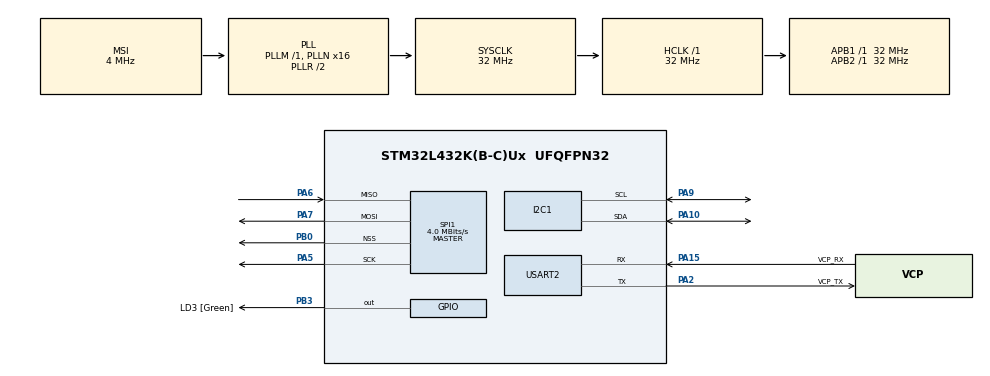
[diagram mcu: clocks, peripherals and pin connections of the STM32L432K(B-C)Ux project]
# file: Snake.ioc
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I2C1.Timing=0x00707CBB
Mcu.Family=STM32L4
Mcu.Name=STM32L432K(B-C)Ux
Mcu.Package=UFQFPN32
NVIC.PriorityGroup=NVIC_PRIORITYGROUP_4
PA0.GPIO_Label=MCO [High speed clock in]
PA0.Mode=HSE-External-Clock-Source-for-LittleOrca
PA0.Signal=RCC_CK_IN
PA10.GPIO_Pu=GPIO_PULLUP
PA10.Mode=I2C
PA10.Signal=I2C1_SDA
PA13\ (JTMS-SWDIO).GPIO_Label=SWDIO
PA13\ (JTMS-SWDIO).Mode=Serial_Wire
PA13\ (JTMS-SWDIO).Signal=SYS_JTMS-SWDIO
PA14\ (JTCK-SWCLK).GPIO_Label=SWCLK
PA14\ (JTCK-SWCLK).Mode=Serial_Wire
PA14\ (JTCK-SWCLK).Signal=SYS_JTCK-SWCLK
PA15\ (JTDI).GPIO_Label=VCP_RX
PA15\ (JTDI).Mode=Asynchronous
PA15\ (JTDI).Signal=USART2_RX
PA2.GPIO_Label=VCP_TX
PA2.Mode=Asynchronous
PA2.Signal=USART2_TX
PA5.Mode=Full_Duplex_Master
PA5.Signal=SPI1_SCK
PA6.Mode=Full_Duplex_Master
PA6.Signal=SPI1_MISO
PA7.Mode=Full_Duplex_Master
PA7.Signal=SPI1_MOSI
PA9.GPIO_Pu=GPIO_PULLUP
PA9.Mode=I2C
PA9.Signal=I2C1_SCL
PB0.Mode=NSS_Signal_Hard_Output
PB0.Signal=SPI1_NSS
PB3\ (JTDO-TRACESWO).GPIO_Label=LD3 [Green]
PB3\ (JTDO-TRACESWO).Signal=GPIO_Output
PC14-OSC32_IN\ (PC14).Mode=LSE-External-Oscillator
PC14-OSC32_IN\ (PC14).Signal=RCC_OSC32_IN
PC15-OSC32_OUT\ (PC15).Mode=LSE-External-Oscillator
PC15-OSC32_OUT\ (PC15).Signal=RCC_OSC32_OUT
ProjectManager.HeapSize=0x200
ProjectManager.StackSize=0x400
ProjectManager.TargetToolchain=STM32CubeIDE
RCC.AHBFreq_Value=32000000
RCC.APB1Freq_Value=32000000
RCC.APB1TimFreq_Value=32000000
RCC.APB2Freq_Value=32000000
RCC.APB2TimFreq_Value=32000000
RCC.CortexFreq_Value=32000000
RCC.HCLKFreq_Value=32000000
RCC.HSE_VALUE=8000000
RCC.HSI16_VALUE=16000000
RCC.HSI48_VALUE=48000000
RCC.HSI_VALUE=16000000
RCC.MSI_VALUE=4000000
RCC.PLLMUL=RCC_PLLMUL_4
RCC.PLLN=16
RCC.SYSCLKFreq_VALUE=32000000
RCC.SYSCLKSource=RCC_SYSCLKSOURCE_PLLCLK
RCC.VCOOutputFreq_Value=64000000
SPI1.BaudRatePrescaler=SPI_BAUDRATEPRESCALER_8
SPI1.CalculateBaudRate=4.0 MBits/s
SPI1.DataSize=SPI_DATASIZE_8BIT
SPI1.Direction=SPI_DIRECTION_2LINES
SPI1.Mode=SPI_MODE_MASTER
SPI1.VirtualNSS=VM_NSSHARD
SPI1.VirtualType=VM_MASTER
USART2.VirtualMode-Asynchronous=VM_ASYNC
board=NUCLEO-L432KC

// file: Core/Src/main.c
/* USER CODE BEGIN Header */
/**
  ******************************************************************************
  * @file           : main.c
  * @brief          : Main program body
  * @author         : 177013
  * @date		    : 19-01-2025
  ******************************************************************************
  * @attention
  * This program is designed to run on an STM32 microcontroller and makes use of
  * peripherals such as SPI, I2C, UART & GPIO to interact with external components.
  *
  * Copyright (c) 2025 STMicroelectronics.
  * All rights reserved.
  *
  * This software is licensed under terms that can be found in the LICENSE file
  * in the root directory of this software component.
  * If no LICENSE file comes with this software, it is provided AS-IS.
  *
  ******************************************************************************
  */
/* USER CODE END Header */
#include "main.h"
#include "i2c.h"
#include "spi.h"
#include "usart.h"
#include "gpio.h"

/* USER CODE BEGIN Includes */
#include "MAX7129.h"
#include "PCA9538A_I²C.h"
#include "snakelogic.h"
/* USER CODE END Includes */

/* USER CODE BEGIN PV */
int selectedMenuIndex = 0;

/* USER CODE END PV */

void SystemClock_Config(void);
/* USER CODE BEGIN PFP */

//static void MX_USART2_UART_Init(void);
//static void MX_I2C1_Init(void);
/* USER CODE END PFP */

int main(void)
{

  /* MCU Configuration--------------------------------------------------------*/

  /* Reset of all peripherals, Initializes the Flash interface and the Systick. */
  HAL_Init();

  /* Configure the system clock */
  SystemClock_Config();

  /* Initialize all configured peripherals */
  MX_GPIO_Init();
  MX_USART2_UART_Init();
  MX_I2C1_Init();
  MX_SPI1_Init();
  /* USER CODE BEGIN 2 */
  uint32_t lastInputTime = HAL_GetTick();  // Store the current time to track the last input time
  /* USER CODE END 2 */

  /* Infinite loop */
  /* USER CODE BEGIN WHILE */
  while (1)
  {
      JoystickState joystick = readJoystick();  // Read the joystick input

      // Check if the joystick or button was moved or pressed
      if (joystick.x || joystick.y || joystick.button) {
          lastInputTime = HAL_GetTick();  // Update the last input time when a joystick movement or button press occurs

          // Switch between menu items based on joystick's Y-axis movement
          switch (joystick.y) {
              case 1:
                  // Move down in the menu (increase selected index)
                  selectedMenuIndex = (selectedMenuIndex + 1) % MENU_ITEMS;
                  break;
              case -1:
                  // Move up in the menu (decrease selected index)
                  selectedMenuIndex = (selectedMenuIndex - 1 + MENU_ITEMS) % MENU_ITEMS;
                  break;
          }

          // Execute an action based on the selected menu item when the button is pressed
          if (joystick.button) {
              switch (selectedMenuIndex) {
                  case 0:
                      playSnake();  // Start the Snake game
                      break;
                  case 1:
                      playTowerBloxx();  // Start the Tower Bloxx game
                      break;
                  case 2:
                      clearMatrix();  // Clear the LED matrix (could be a "Quit" or "Exit" option)
                      break;
              }
          }

          // Update the menu display based on the selected option
          showMenu();
      }

      // Check for inactivity (if no input for 30 seconds)
      if (HAL_GetTick() - lastInputTime > 30000) {
          handleInactivity();  // Handle inactivity by dimming the display and showing the menu
      }
    /* USER CODE END WHILE */

  }
}

void SystemClock_Config(void)
{
  RCC_OscInitTypeDef RCC_OscInitStruct = {0};
  RCC_ClkInitTypeDef RCC_ClkInitStruct = {0};

  /** Configure the main internal regulator output voltage
  */
  if (HAL_PWREx_ControlVoltageScaling(PWR_REGULATOR_VOLTAGE_SCALE1) != HAL_OK)
  {
    Error_Handler();
  }

  /** Configure LSE Drive Capability
  */
  HAL_PWR_EnableBkUpAccess();
  __HAL_RCC_LSEDRIVE_CONFIG(RCC_LSEDRIVE_LOW);

  /** Initializes the RCC Oscillators according to the specified parameters
  * in the RCC_OscInitTypeDef structure.
  */
  RCC_OscInitStruct.OscillatorType = RCC_OSCILLATORTYPE_LSE|RCC_OSCILLATORTYPE_MSI;
  RCC_OscInitStruct.LSEState = RCC_LSE_ON;
  RCC_OscInitStruct.MSIState = RCC_MSI_ON;
  RCC_OscInitStruct.MSICalibrationValue = 0;
  RCC_OscInitStruct.MSIClockRange = RCC_MSIRANGE_6;
  RCC_OscInitStruct.PLL.PLLState = RCC_PLL_ON;
  RCC_OscInitStruct.PLL.PLLSource = RCC_PLLSOURCE_MSI;
  RCC_OscInitStruct.PLL.PLLM = 1;
  RCC_OscInitStruct.PLL.PLLN = 16;
  RCC_OscInitStruct.PLL.PLLP = RCC_PLLP_DIV7;
  RCC_OscInitStruct.PLL.PLLQ = RCC_PLLQ_DIV2;
  RCC_OscInitStruct.PLL.PLLR = RCC_PLLR_DIV2;
  if (HAL_RCC_OscConfig(&RCC_OscInitStruct) != HAL_OK)
  {
    Error_Handler();
  }

  /** Initializes the CPU, AHB and APB buses clocks
  */
  RCC_ClkInitStruct.ClockType = RCC_CLOCKTYPE_HCLK|RCC_CLOCKTYPE_SYSCLK
                              |RCC_CLOCKTYPE_PCLK1|RCC_CLOCKTYPE_PCLK2;
  RCC_ClkInitStruct.SYSCLKSource = RCC_SYSCLKSOURCE_PLLCLK;
  RCC_ClkInitStruct.AHBCLKDivider = RCC_SYSCLK_DIV1;
  RCC_ClkInitStruct.APB1CLKDivider = RCC_HCLK_DIV1;
  RCC_ClkInitStruct.APB2CLKDivider = RCC_HCLK_DIV1;

  if (HAL_RCC_ClockConfig(&RCC_ClkInitStruct, FLASH_LATENCY_1) != HAL_OK)
  {
    Error_Handler();
  }

  /** Enable MSI Auto calibration
  */
  HAL_RCCEx_EnableMSIPLLMode();
}

/* USER CODE BEGIN 4 */

void playTetris(void)
{
  // Implement automated movements and rotations for Tetris
}
/* USER CODE END 4 */

void Error_Handler(void)
{
  __disable_irq();
  while (1)
  {
  }
}
